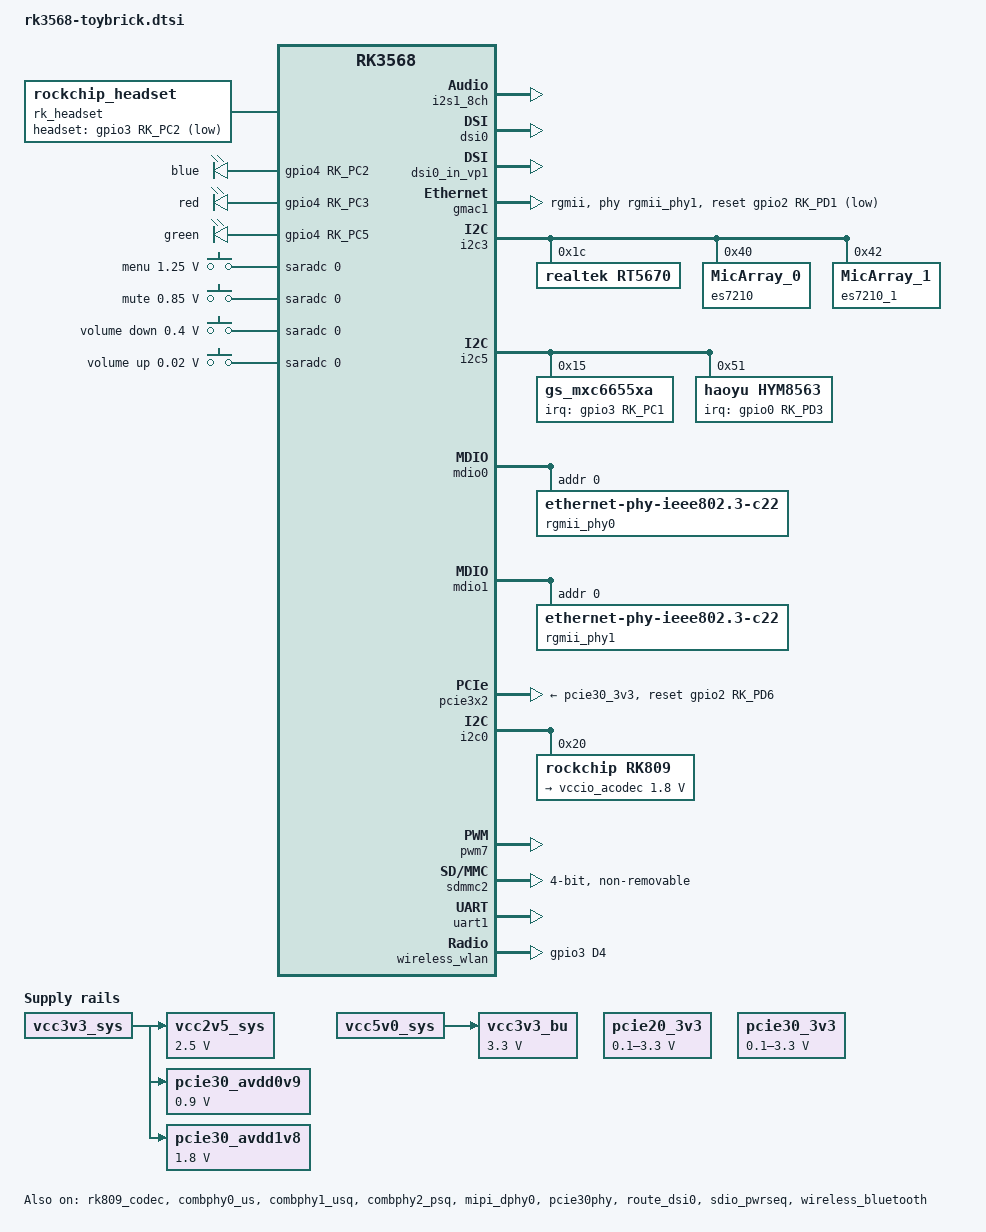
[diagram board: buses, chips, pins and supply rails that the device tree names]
// SPDX-License-Identifier: (GPL-2.0+ OR MIT)
/*
 * Copyright (c) 2020 Rockchip Electronics Co., Ltd.
 *
 */

/dts-v1/;

#include <dt-bindings/gpio/gpio.h>
#include <dt-bindings/pinctrl/rockchip.h>
#include "rk3568.dtsi"
#include "rk3568-evb.dtsi"
/delete-node/ &adc_keys;
/delete-node/ &leds;

/ {
	compatible = "rockchip,rk3568-toybrick", "rockchip,rk3568";

	rk_headset: rk-headset {
		compatible = "rockchip_headset";
		headset_gpio = <&gpio3 RK_PC2 GPIO_ACTIVE_LOW>;//GPIO3 RK_PC3 for rk809
		pinctrl-names = "default";
		pinctrl-0 = <&hp_det>;
	};

    leds: gpio-leds {
		compatible = "gpio-leds";
		pinctrl-names = "default";
		pinctrl-0 =<&leds_gpio>;

		led@1 {
			gpios = <&gpio4 RK_PC2 GPIO_ACTIVE_HIGH>;
			label = "blue"; // Blue LED
			retain-state-suspended;
		};

		led@2 {
			gpios = <&gpio4 RK_PC3 GPIO_ACTIVE_HIGH>;
			label = "red"; // Red LED
			retain-state-suspended;
		};

		led@3 {
			gpios = <&gpio4 RK_PC5 GPIO_ACTIVE_HIGH>;
			label = "green"; // Green LED
			retain-state-suspended;
		};
	};

	adc-keys {
		compatible = "adc-keys";
		io-channels = <&saradc 0>;
		io-channel-names = "buttons";
		poll-interval = <100>;
		keyup-threshold-microvolt = <1800000>;

		menu-key {
		    linux,code = <KEY_MENU>;
		    label = "menu";
		    press-threshold-microvolt = <1250000>;
		};

		mute-key {
		    linux,code = <KEY_MUTE>;
		    label = "mute";
		    press-threshold-microvolt = <850000>;
		};

		vol-down-key {
		    linux,code = <KEY_VOLUMEDOWN>;
		    label = "volume down";
		    press-threshold-microvolt = <400000>;
		};

		vol-up-key {
		    linux,code = <KEY_VOLUMEUP>;
		    label = "volume up";
		    press-threshold-microvolt = <20000>;
		};
	};

	rt5672-sound {
		compatible = "rockchip-rt5670";
		status = "disabled";
		dais {
			dai0 {
				audio-codec = <&rt5670>;
				audio-controller = <&i2s1_8ch>;
				format = "i2s";
			};
			dai1 {
				audio-codec = <&rt5670>;
				audio-controller = <&i2s1_8ch>;
				format = "i2s";
			};
			dai2 {
				audio-codec = <&es7210>;
				audio-controller = <&i2s1_8ch>;
				format = "i2s";
			};
		};
	};

	vcc2v5_sys: vcc2v5-ddr {
		compatible = "regulator-fixed";
		regulator-name = "vcc2v5-sys";
		regulator-always-on;
		regulator-boot-on;
		regulator-min-microvolt = <2500000>;
		regulator-max-microvolt = <2500000>;
		vin-supply = <&vcc3v3_sys>;
	};

	pcie20_3v3: gpio-regulator {
		compatible = "regulator-gpio";
		regulator-name = "pcie20_3v3";
		regulator-min-microvolt = <100000>;
		regulator-max-microvolt = <3300000>;
		gpios = <&gpio0 RK_PD4 GPIO_ACTIVE_HIGH>;
		gpios-states = <0x1>;
		states = <100000 0x0
			  3300000 0x1>;
	};

	pcie30_avdd0v9: pcie30-avdd0v9 {
		compatible = "regulator-fixed";
		regulator-name = "pcie30_avdd0v9";
		regulator-always-on;
		regulator-boot-on;
		regulator-min-microvolt = <900000>;
		regulator-max-microvolt = <900000>;
		vin-supply = <&vcc3v3_sys>;
	};

	pcie30_avdd1v8: pcie30-avdd1v8 {
		compatible = "regulator-fixed";
		regulator-name = "pcie30_avdd1v8";
		regulator-always-on;
		regulator-boot-on;
		regulator-min-microvolt = <1800000>;
		regulator-max-microvolt = <1800000>;
		vin-supply = <&vcc3v3_sys>;
	};

	pcie30_3v3: gpio-regulator {
		compatible = "regulator-gpio";
		regulator-name = "pcie30_3v3";
		regulator-min-microvolt = <100000>;
		regulator-max-microvolt = <3300000>;
		gpios = <&gpio0 RK_PD4 GPIO_ACTIVE_HIGH>;
		gpios-states = <0x1>;
		states = <100000 0x0
			  3300000 0x1>;
	};

	vcc3v3_bu: vcc3v3-bu {
		compatible = "regulator-fixed";
		regulator-name = "vcc3v3_bu";
		regulator-always-on;
		regulator-boot-on;
		regulator-min-microvolt = <3300000>;
		regulator-max-microvolt = <3300000>;
		vin-supply = <&vcc5v0_sys>;
	};

	rk809_sound_micarray: rk809-sound-micarray {
		status = "okay";
		compatible = "simple-audio-card";
		simple-audio-card,format = "i2s";
		simple-audio-card,name = "rockchip,rk809-codec";
		simple-audio-card,mclk-fs = <256>;

		simple-audio-card,dai-link@0 {
			format = "i2s";
			cpu {
				sound-dai = <&i2s1_8ch>;
			};
			codec {
				sound-dai = <&rk809_codec 0>;
			};
		};
		simple-audio-card,dai-link@1 {
			format = "i2s";
			cpu {
				sound-dai = <&i2s1_8ch>;
			};
			codec {
				sound-dai = <&es7210>;
			};
		};
	};
};

&i2s1_8ch {
	status = "okay";
	#sound-dai-cells = <0>;
	rockchip,clk-trcm = <0>;
	pinctrl-names = "default";
	pinctrl-0 = <&i2s1m0_sclktx
		     &i2s1m0_lrcktx
		     &i2s1m0_sclkrx
		     &i2s1m0_lrckrx
		     &i2s1m0_sdo0
		     &i2s1m0_sdi0
		     &i2s1m0_sdi1
		     &i2s1m0_sdi2
		     &i2s1m0_sdi3>;
};

&rk809_codec {
	#sound-dai-cells = <1>;
	compatible = "rockchip,rk809-codec", "rockchip,rk817-codec";
	clocks = <&cru I2S1_MCLKOUT>;
	clock-names = "mclk";
	assigned-clocks = <&cru I2S1_MCLKOUT>, <&cru I2S1_MCLK_TX_IOE>;
	assigned-clock-rates = <12288000>;
	assigned-clock-parents = <&cru I2S1_MCLKOUT_TX>, <&cru I2S1_MCLKOUT_TX>;
	pinctrl-names = "default";
	pinctrl-0 = <&i2s1m0_mclk>;
	pdmdata-out-enable;
	adc-for-loopback;
	hp-volume = <20>;
	spk-volume = <3>;
	mic-in-differential;
	status = "okay";
};

&rk809_sound {
	status = "disabled";
};

&combphy0_us {
	status = "okay";
};

&combphy1_usq {
	status = "okay";
};

&combphy2_psq {
	status = "okay";
};

/*
 * mipi_dphy0 needs to be enabled
 * when dsi0 is enabled
 */
&dsi0 {
	status = "okay";
};

&dsi0_in_vp0 {
	status = "disabled";
};

&dsi0_in_vp1 {
	status = "okay";
};

&dsi0_panel {
	power-supply = <&vcc3v3_lcd0_n>;
};

/*
 * mipi_dphy1 needs to be enabled
 * when dsi1 is enabled
 */
&dsi1 {
	status = "disabled";
};

&dsi1_in_vp0 {
	status = "disabled";
};

&dsi1_in_vp1 {
	status = "disabled";
};

&dsi1_panel {
	power-supply = <&vcc3v3_lcd1_n>;
};

&gmac0 {
	phy-mode = "rgmii";
	clock_in_out = "output";

	snps,reset-gpio = <&gpio2 RK_PD3 GPIO_ACTIVE_LOW>;
	snps,reset-active-low;
	/* Reset time is 20ms, 100ms for rtl8211f */
	snps,reset-delays-us = <0 20000 100000>;

	assigned-clocks = <&cru SCLK_GMAC0_RX_TX>, <&cru SCLK_GMAC0>;
	assigned-clock-parents = <&cru SCLK_GMAC0_RGMII_SPEED>, <&cru CLK_MAC0_2TOP>;
	assigned-clock-rates = <0>, <125000000>;

	pinctrl-names = "default";
	pinctrl-0 = <&gmac0_miim
		     &gmac0_tx_bus2
		     &gmac0_rx_bus2
		     &gmac0_rgmii_clk
		     &gmac0_rgmii_bus>;

	tx_delay = <0x3c>;
	rx_delay = <0x2f>;

	phy-handle = <&rgmii_phy0>;
	status = "disabled";
};

&gmac1 {
	phy-mode = "rgmii";
	clock_in_out = "output";

	snps,reset-gpio = <&gpio2 RK_PD1 GPIO_ACTIVE_LOW>;
	snps,reset-active-low;
	/* Reset time is 20ms, 100ms for rtl8211f */
	snps,reset-delays-us = <0 20000 100000>;

	assigned-clocks = <&cru SCLK_GMAC1_RX_TX>, <&cru SCLK_GMAC1>;
	assigned-clock-parents = <&cru SCLK_GMAC1_RGMII_SPEED>, <&cru CLK_MAC1_2TOP>;
	assigned-clock-rates = <0>, <125000000>;

	pinctrl-names = "default";
	pinctrl-0 = <&gmac1m1_miim
		     &gmac1m1_tx_bus2
		     &gmac1m1_rx_bus2
		     &gmac1m1_rgmii_clk
		     &gmac1m1_rgmii_bus>;

	tx_delay = <0x4f>;
	rx_delay = <0x26>;

	phy-handle = <&rgmii_phy1>;
	status = "okay";
};

/*
 * power-supply should switche to vcc3v3_lcd1_n
 * when mipi panel is connected to dsi1.
 */
&gt1x {
	power-supply = <&vcc3v3_lcd0_n>;
};

&i2c3 {
	status = "okay";
	rt5670: rt5670@1c {
	    status = "okay";
		#sound-dai-cell = <0>;
		compatible = "realtek,rt5670";
		reg = <0x1c>;
	};

    es7210: es7210@40 {
		#sound-dai-cells = <0>;
		compatible = "MicArray_0";
		reg = <0x40>;
		clocks = <&cru I2S1_MCLKOUT_RX>;//csqerr
		clock-names = "mclk";
	};

	es7210_1: es7210@42 {
		compatible = "MicArray_1";
		reg = <0x42>;
	};
};

&i2c5 {
	status = "okay";

	gs_mxc6655xa: gs_mxc6655xa@15 {
		status = "okay";
		compatible = "gs_mxc6655xa";
		pinctrl-names = "default";
		pinctrl-0 = <&mxc6655xa_irq_gpio>;
		reg = <0x15>;
		irq-gpio = <&gpio3 RK_PC1 IRQ_TYPE_LEVEL_LOW>;
		irq_enable = <0>;
		poll_delay_ms = <30>;
		type = <SENSOR_TYPE_ACCEL>;
		power-off-in-suspend = <1>;
		layout = <1>;
	};

    mxc6655xa: mxc6655xa@15 {
		status = "disabled";
		compatible = "gs_mxc6655xa";
		pinctrl-names = "default";
		pinctrl-0 = <&mxc6655xa_irq_gpio>;
		reg = <0x15>;
		irq-gpio = <&gpio3 RK_PC1 IRQ_TYPE_LEVEL_LOW>;
		irq_enable = <0>;
		poll_delay_ms = <30>;
		type = <SENSOR_TYPE_ACCEL>;
		power-off-in-suspend = <1>;
		layout = <1>;
	};

    hym8563: hym8563@51 {
		compatible = "haoyu,hym8563";
		reg = <0x51>;
		pinctrl-names = "default";
		pinctrl-0 = <&rtc_int>;

		interrupt-parent = <&gpio0>;
		interrupts = <RK_PD3 IRQ_TYPE_LEVEL_LOW>;
	};
};

&mdio0 {
	rgmii_phy0: phy@0 {
		compatible = "ethernet-phy-ieee802.3-c22";
		reg = <0x0>;
	};
};

&mdio1 {
	rgmii_phy1: phy@0 {
		compatible = "ethernet-phy-ieee802.3-c22";
		reg = <0x0>;
	};
};

&mipi_dphy0 {
	status = "okay";
};

&mipi_dphy1 {
	status = "disabled";
};

/*
&pcie2x1 {
	reset-gpios = <&gpio1 RK_PB2 GPIO_ACTIVE_HIGH>;
	vpcie3v3-supply = <&pcie20_3v3>;
	status = "okay";
};
*/

&pcie30phy {
	status = "okay";
};

&pcie3x2 {
	reset-gpios = <&gpio2 RK_PD6 GPIO_ACTIVE_HIGH>;
	vpcie3v3-supply = <&pcie30_3v3>;
	status = "okay";
};

&pinctrl {
	headphone {
		hp_det: hp-det {
			rockchip,pins = <3 RK_PC2 RK_FUNC_GPIO &pcfg_pull_down>;
		};
	};

	leds_gpio: leds-gpio {
		rockchip,pins =
			<4 RK_PC2 RK_FUNC_GPIO &pcfg_pull_up>,
			<4 RK_PC3 RK_FUNC_GPIO &pcfg_pull_up>,
			<4 RK_PC5 RK_FUNC_GPIO &pcfg_pull_up>;
	};

	mxc6655xa {
		mxc6655xa_irq_gpio: mxc6655xa_irq_gpio {
			rockchip,pins = <3 RK_PC1 RK_FUNC_GPIO &pcfg_pull_none>;
		};
	};
/*
	sii902x {
		sii902x_hdmi_int: sii902x-hdmi-int {
			rockchip,pins = <3 RK_PA0 RK_FUNC_GPIO &pcfg_pull_up>;
		};
	};
*/
	sdio-pwrseq {
		wifi_enable_h: wifi-enable-h {
			rockchip,pins = <3 RK_PD5 RK_FUNC_GPIO &pcfg_pull_none>;
		};
/*
		wifi_32k: wifi-32k {//csqerr
			rockchip,pins = <2 RK_PC6 1 &pcfg_pull_none>;
		};
*/

	};

	wireless-wlan {
		wifi_host_wake_irq: wifi-host-wake-irq {
			rockchip,pins = <3 RK_PD4 RK_FUNC_GPIO &pcfg_pull_down>;
		};
	};

	wireless-bluetooth {
		uart1_gpios: uart1-gpios {
			rockchip,pins = <2 RK_PB1 RK_FUNC_GPIO &pcfg_pull_none>;
		};
	};

    rtc {
		rtc_int: rtc-int {
			rockchip,pins = <0 RK_PD3 RK_FUNC_GPIO &pcfg_pull_up>;
		};
	};
};

&i2c0 {
	status = "okay";
	rk809: pmic@20 {
		compatible = "rockchip,rk809";
		reg = <0x20>;
		regulators {
			vccio_acodec: LDO_REG4 {
				regulator-always-on;
				regulator-boot-on;
				regulator-min-microvolt = <1800000>;
				regulator-max-microvolt = <1800000>;
				regulator-name = "vccio_acodec";
				regulator-state-mem {
					regulator-off-in-suspend;
				};
			};
		};
	};
};

&pwm7 {
	status = "okay";
};

&route_dsi0 {
	status = "okay";
	connect = <&vp1_out_dsi0>;
};

&sdio_pwrseq {
	compatible = "mmc-pwrseq-simple";
	clocks = <&rk809 1>;
	clock-names = "ext_clock";
	pinctrl-names = "default";
	pinctrl-0 = <&wifi_enable_h>;

	/*
	 * On the module itself this is one of these (depending
	 * on the actual card populated):
	 * - SDIO_RESET_L_WL_REG_ON
	 * - PDN (power down when low)
	 */
	reset-gpios = <&gpio3 RK_PD5 GPIO_ACTIVE_LOW>;
	status = "okay";
};

&sdmmc1 {
	status = "disabled";
};

&sdmmc2 {
	max-frequency = <150000000>;
	supports-sdio;
	bus-width = <4>;
	disable-wp;
	cap-sd-highspeed;
	cap-sdio-irq;
	keep-power-in-suspend;
	mmc-pwrseq = <&sdio_pwrseq>;
	non-removable;
	pinctrl-names = "default";
	pinctrl-0 = <&sdmmc2m0_bus4 &sdmmc2m0_cmd &sdmmc2m0_clk>;
	sd-uhs-sdr104;
	status = "okay";
};

&uart1 {
	status = "okay";
	pinctrl-names = "default";
	pinctrl-0 = <&uart1m0_xfer &uart1m0_ctsn>;
};

&vcc3v3_lcd0_n {
	gpio = <&gpio0 RK_PC7 GPIO_ACTIVE_HIGH>;
	enable-active-high;
};

&vcc3v3_lcd1_n {
	gpio = <&gpio0 RK_PC5 GPIO_ACTIVE_HIGH>;
	enable-active-high;
};

&wireless_wlan {
	pinctrl-names = "default";
	pinctrl-0 = <&wifi_host_wake_irq>;
	WIFI,host_wake_irq = <&gpio3 RK_PD4 GPIO_ACTIVE_HIGH>;
};

&wireless_bluetooth {
	compatible = "bluetooth-platdata";
	clocks = <&pmucru CLK_RTC_32K>;
	clock-names = "ext_clock";
	//wifi-bt-power-toggle;
	uart_rts_gpios = <&gpio2 RK_PB1 GPIO_ACTIVE_LOW>;
	pinctrl-names = "default", "rts_gpio";
	pinctrl-0 = <&uart8m0_rtsn>;
	pinctrl-1 = <&uart1_gpios>;
	BT,reset_gpio    = <&gpio3 RK_PA0 GPIO_ACTIVE_HIGH>;
	BT,wake_gpio     = <&gpio3 RK_PA2 GPIO_ACTIVE_HIGH>;
	BT,wake_host_irq = <&gpio3 RK_PA1 GPIO_ACTIVE_HIGH>;
	status = "okay";
};
